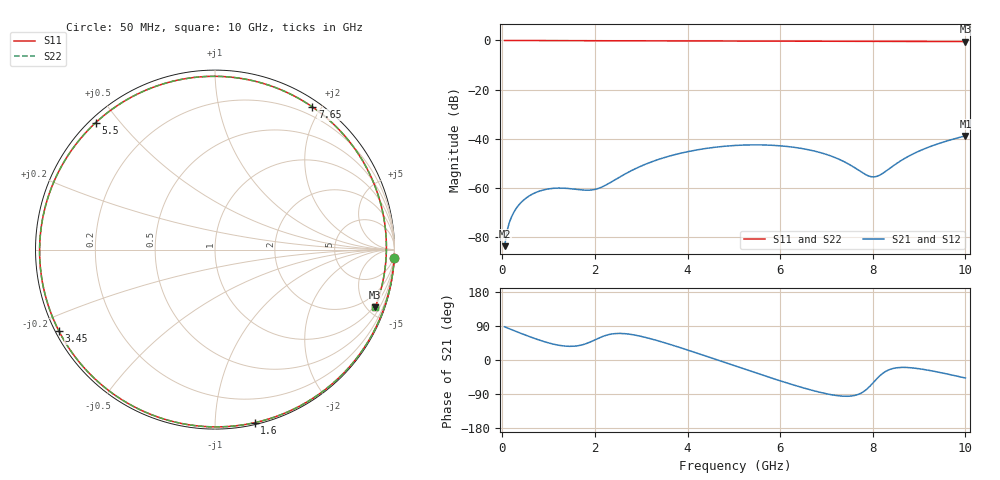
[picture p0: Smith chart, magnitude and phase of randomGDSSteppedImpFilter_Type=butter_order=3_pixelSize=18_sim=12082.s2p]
! freq	dB(S11)	phase(S11)	dB(S12)	phase(S12)
!  dB(S21)	phase(S21)	dB(S22)	phase(S22)
!S-par simulation data
#  GHz  S  DB  R 50
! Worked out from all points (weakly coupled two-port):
!   200 points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, 50 MHz to 10 GHz, reference 50 ohm
!   highest |S21| = -38.77 dB at 10 GHz (marker M1); lowest = -83.6 dB at 50 MHz (marker M2)
!   lowest |S11| = -0.5 dB at 10 GHz (marker M3), VSWR 38.09, Z = 43.6 - j281 ohm
!   |S11| at or under -10 dB: nowhere
!   |S22| runs from -0.5 to 0.0 dB; largest |S21 - S12| = 0
!   S11 on the Smith chart (normalised r, x): 50 MHz: 0, -45; 1.6 GHz: 0.01, -1.26; 3.45 GHz: 0.01, -0.25; 5.5 GHz: 0.02, +0.43; 7.65 GHz: 0.09, +1.89; 10 GHz: 0.87, -5.61
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0.05  -0.00 -2.5  -83.59 87.5  -83.59 87.5  -0.00 -2.5
0.15  -0.01 -7.6  -74.10 82.6  -74.10 82.6  -0.01 -7.6
0.25  -0.02 -12.6  -69.77 77.7  -69.77 77.7  -0.02 -12.6
0.55  -0.04 -27.4  -63.56 63.4  -63.56 63.4  -0.04 -27.4
1  -0.06 -49.3  -60.31 45.1  -60.31 45.1  -0.06 -49.3
1.6  -0.09 -77.1  -60.50 37.0  -60.50 37.0  -0.09 -77.1
1.75  -0.10 -83.7  -60.79 40.8  -60.79 40.8  -0.10 -83.8
2.1  -0.12 -98.9  -59.95 58.7  -59.95 58.7  -0.12 -98.9
2.5  -0.13 -115.4  -55.88 70.1  -55.88 70.1  -0.13 -115.5
3.4  -0.17 -150.5  -48.17 49.3  -48.17 49.3  -0.17 -150.5
3.45  -0.17 -152.4  -47.87 47.5  -47.87 47.5  -0.17 -152.4
4.25  -0.20 178.2  -44.32 16.3  -44.32 16.3  -0.20 178.2
5.05  -0.24 149.4  -42.64 -16.6  -42.64 -16.6  -0.24 149.4
5.5  -0.26 133.2  -42.42 -35.0  -42.42 -35.0  -0.26 133.2
6.1  -0.28 111.5  -42.98 -58.8  -42.98 -58.8  -0.28 111.5
6.7  -0.31 89.8  -44.77 -80.3  -44.77 -80.3  -0.31 89.7
7.2  -0.32 71.7  -47.69 -93.5  -47.69 -93.5  -0.32 71.7
7.65  -0.33 55.7  -52.19 -92.2  -52.19 -92.2  -0.33 55.6
8  -0.34 43.5  -55.44 -61.2  -55.44 -61.2  -0.34 43.4
8.35  -0.35 31.5  -52.20 -25.8  -52.20 -25.8  -0.35 31.4
9.05  -0.38 8.6  -44.54 -24.0  -44.54 -24.0  -0.38 8.5
10  -0.46 -19.7  -38.77 -47.5  -38.77 -47.5  -0.46 -19.8
